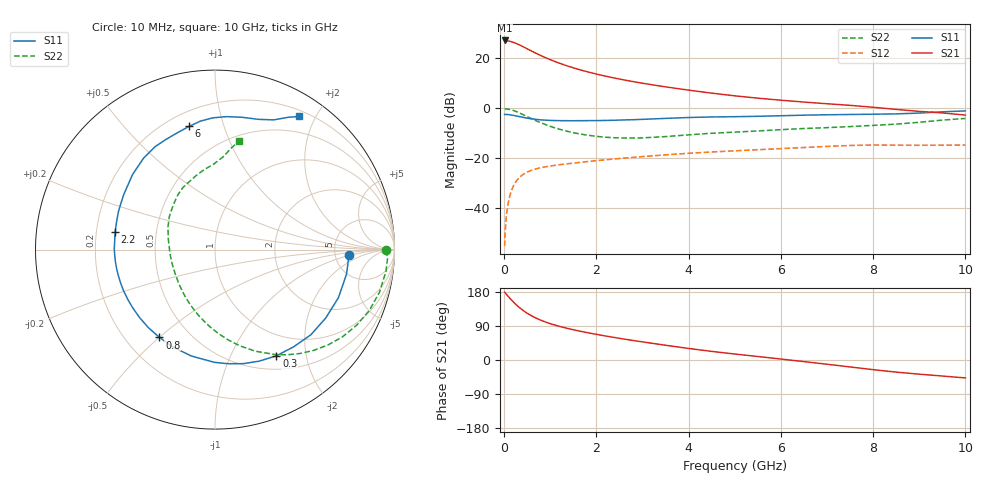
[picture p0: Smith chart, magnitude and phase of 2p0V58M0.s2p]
! (c) 2009  Infineon Technologies AG, Munich
! Infineon Technologies  Discrete & RF Semiconductors
! BFP420
! VCE =  0.5 V,  IC =  8.0 mA
! Common Emitter S-Parameters:  Nov 2009
# GHz  S  MA  R  50
!  f  S11  S21  S12  S22
! GHz  MAG  ANG  MAG  ANG  MAG  ANG  MAG  ANG
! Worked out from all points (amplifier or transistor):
!   46 points, 10 MHz to 10 GHz, reference 50 ohm
!   highest |S21| = 27.1 dB at 10 MHz (marker M1)
!   |S21| within 3 dB of that: start of sweep to 462.7 MHz
!   unconditionally stable (mu >= 1): 2.451 GHz to end of sweep
!   at 300 MHz: K = 0.17, MSG = 27.0 dB, |S12| = -28.5 dB
!   at 1.7 GHz: K = 0.79, MSG = 18.4 dB, |S12| = -21.7 dB
!   at 10 GHz: K = 1.07, MAG = 4.4 dB, |S12| = -14.8 dB
!   lowest NFmin = 0.79 dB at 900 MHz
!   S11 on the Smith chart (normalised r, x): 10 MHz: 6.75, -0.95; 300 MHz: 0.68, -1.51; 800 MHz: 0.34, -0.50; 2.2 GHz: 0.28, +0.08; 6 GHz: 0.29, +0.77; 10 GHz: 0.28, +1.78
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0.01  0.7464 -2.4  22.69 179.2  0.0017 110.9  0.9541 -0.2
0.02  0.7453 -4.5  22.24 177.6  0.0031 89.4  0.9627 -2.8
0.1  0.7381 -21.2  22.09 166.3  0.0144 79.6  0.9471 -14.4
0.15  0.7252 -31.7  21.52 159.5  0.0212 74.5  0.9245 -21.5
0.2  0.7146 -41.6  20.81 153.2  0.0273 69.9  0.8945 -28.1
0.25  0.6967 -51.0  19.91 147.1  0.0329 65.6  0.8608 -34.4
0.3  0.6835 -60.0  19.05 141.6  0.0378 61.6  0.8228 -40.3
0.4  0.6546 -76.1  17.2 131.8  0.0459 54.9  0.7465 -50.9
0.5  0.6281 -90.3  15.42 123.4  0.0521 49.6  0.6738 -60.2
0.6  0.6073 -102.6  13.84 116.1  0.0569 45.4  0.6094 -68.3
0.8  0.5792 -122.3  11.24 104.8  0.0638 39.6  0.5056 -82.1
1  0.5658 -137.8  9.347 95.9  0.0688 36.1  0.4306 -93.8
1.2  0.5597 -150.1  7.925 88.7  0.0731 33.7  0.3763 -104.4
1.7  0.5589 -173.0  5.671 74.7  0.0825 30.2  0.2965 -127.4
2.2  0.5648 170.0  4.364 63.3  0.0919 27.7  0.2601 -148.1
2.8  0.5846 153.6  3.389 51.5  0.1027 24.5  0.2507 -171.3
3.5  0.6211 137.7  2.66 38.9  0.1152 20.2  0.268 166.5
5.5  0.6834 108.0  1.579 9.2  0.1461 6.8  0.3474 130.5
6  0.7016 101.9  1.438 2.6  0.1538 3.3  0.3694 123.9
7  0.7342 90.9  1.221 -11.2  0.1702 -4.9  0.4048 110.7
8.5  0.7648 71.6  0.94 -32.0  0.1802 -20.4  0.4762 90.9
10  0.8766 57.8  0.723 -47.3  0.1813 -30.1  0.6197 77.4
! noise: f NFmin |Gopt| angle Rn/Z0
0.9  0.79  0.08  30  0.13
1.8  1.14  0.06  171  0.12
2.4  1.24  0.1  160  0.13
3  1.32  0.17  -165  0.12
4  1.46  0.32  -132  0.14
5  1.85  0.39  -110  0.25
6  2.3  0.46  -95  0.37
